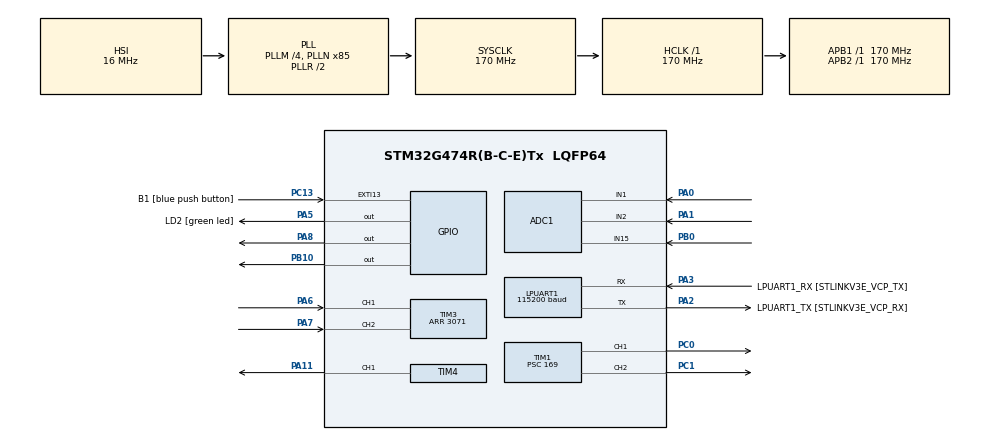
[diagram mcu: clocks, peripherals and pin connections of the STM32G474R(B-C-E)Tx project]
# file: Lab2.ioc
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ADC1.Channel-0\#ChannelRegularConversion=ADC_CHANNEL_1
ADC1.Channel-1\#ChannelRegularConversion=ADC_CHANNEL_2
ADC1.Channel-2\#ChannelRegularConversion=ADC_CHANNEL_15
ADC1.ContinuousConvMode=ENABLE
ADC1.DMAContinuousRequests=ENABLE
ADC1.NbrOfConversion=3
ADC1.NbrOfConversionFlag=1
ADC1.OffsetNumber-0\#ChannelRegularConversion=ADC_OFFSET_NONE
ADC1.OffsetNumber-1\#ChannelRegularConversion=ADC_OFFSET_NONE
ADC1.OffsetNumber-2\#ChannelRegularConversion=ADC_OFFSET_NONE
ADC1.Rank-0\#ChannelRegularConversion=1
ADC1.Rank-1\#ChannelRegularConversion=2
ADC1.Rank-2\#ChannelRegularConversion=3
ADC1.SamplingTime-0\#ChannelRegularConversion=ADC_SAMPLETIME_640CYCLES_5
ADC1.SamplingTime-1\#ChannelRegularConversion=ADC_SAMPLETIME_640CYCLES_5
ADC1.SamplingTime-2\#ChannelRegularConversion=ADC_SAMPLETIME_640CYCLES_5
ADC1.master=1
ARM.CMSIS-DSP.1.15.0.CMSISJjDSP=Source
ARM.CMSIS.6.0.0.CMSISJjCORE=true
Dma.ADC1.0.Direction=DMA_PERIPH_TO_MEMORY
Dma.ADC1.0.EventEnable=DISABLE
Dma.ADC1.0.Instance=DMA1_Channel1
Dma.ADC1.0.MemDataAlignment=DMA_MDATAALIGN_HALFWORD
Dma.ADC1.0.MemInc=DMA_MINC_ENABLE
Dma.ADC1.0.Mode=DMA_CIRCULAR
Dma.ADC1.0.PeriphDataAlignment=DMA_PDATAALIGN_HALFWORD
Dma.ADC1.0.PeriphInc=DMA_PINC_DISABLE
Dma.ADC1.0.Polarity=HAL_DMAMUX_REQ_GEN_RISING
Dma.ADC1.0.Priority=DMA_PRIORITY_LOW
Dma.ADC1.0.RequestNumber=1
Dma.ADC1.0.SignalID=NONE
Dma.ADC1.0.SyncEnable=DISABLE
Dma.ADC1.0.SyncPolarity=HAL_DMAMUX_SYNC_NO_EVENT
Dma.ADC1.0.SyncRequestNumber=1
Dma.ADC1.0.SyncSignalID=NONE
Dma.Request0=ADC1
LPUART1.BaudRate=115200
LPUART1.WordLength=UART_WORDLENGTH_8B
Mcu.Family=STM32G4
Mcu.Name=STM32G474R(B-C-E)Tx
Mcu.Package=LQFP64
NVIC.DMA1_Channel1_IRQn=true\:0\:0\:false\:false\:true\:false\:true\:true
NVIC.EXTI15_10_IRQn=true\:0\:0\:false\:false\:true\:true\:true\:true
NVIC.PriorityGroup=NVIC_PRIORITYGROUP_4
PA0.Mode=IN1-Single-Ended
PA0.Signal=ADC1_IN1
PA1.Mode=IN2-Single-Ended
PA1.Signal=ADC1_IN2
PA11.Signal=S_TIM4_CH1
PA13.GPIO_Label=T_SWDIO
PA13.Mode=Trace_Asynchronous_SW
PA13.Signal=SYS_JTMS-SWDIO
PA14.GPIO_Label=T_SWCLK
PA14.Mode=Trace_Asynchronous_SW
PA14.Signal=SYS_JTCK-SWCLK
PA2.GPIO_Label=LPUART1_TX [STLINKV3E_VCP_RX]
PA2.Mode=Asynchronous
PA2.Signal=LPUART1_TX
PA3.GPIO_Label=LPUART1_RX [STLINKV3E_VCP_TX]
PA3.Mode=Asynchronous
PA3.Signal=LPUART1_RX
PA5.GPIO_Label=LD2 [green led]
PA5.Signal=GPIO_Output
PA6.Signal=S_TIM3_CH1
PA7.Signal=S_TIM3_CH2
PA8.Signal=GPIO_Output
PB0.Mode=IN15-Single-Ended
PB0.Signal=ADC1_IN15
PB10.Signal=GPIO_Output
PB3.GPIO_Label=T_SWO
PB3.Mode=Trace_Asynchronous_SW
PB3.Signal=SYS_JTDO-SWO
PC0.Signal=S_TIM1_CH1
PC1.Signal=S_TIM1_CH2
PC13.GPIO_Label=B1 [blue push button]
PC13.Signal=GPXTI13
PC14-OSC32_IN.Mode=LSE-External-Oscillator
PC14-OSC32_IN.Signal=RCC_OSC32_IN
PC15-OSC32_OUT.Mode=LSE-External-Oscillator
PC15-OSC32_OUT.Signal=RCC_OSC32_OUT
PF0-OSC_IN.Mode=HSE-External-Oscillator
PF0-OSC_IN.Signal=RCC_OSC_IN
PF1-OSC_OUT.Mode=HSE-External-Oscillator
PF1-OSC_OUT.Signal=RCC_OSC_OUT
ProjectManager.HeapSize=0x200
ProjectManager.StackSize=0x400
ProjectManager.TargetToolchain=STM32CubeIDE
RCC.ADC12Freq_Value=170000000
RCC.ADC345Freq_Value=170000000
RCC.AHBFreq_Value=170000000
RCC.APB1Freq_Value=170000000
RCC.APB1TimFreq_Value=170000000
RCC.APB2Freq_Value=170000000
RCC.APB2TimFreq_Value=170000000
RCC.CortexFreq_Value=170000000
RCC.EXTERNAL_CLOCK_VALUE=12288000
RCC.HCLKFreq_Value=170000000
RCC.HSE_VALUE=24000000
RCC.HSI48_VALUE=48000000
RCC.HSI_VALUE=16000000
RCC.PLLM=RCC_PLLM_DIV4
RCC.PLLN=85
RCC.RTCClockSelection=RCC_RTCCLKSOURCE_LSE
RCC.SYSCLKFreq_VALUE=170000000
RCC.SYSCLKSource=RCC_SYSCLKSOURCE_PLLCLK
RCC.USBFreq_Value=170000000
RCC.VCOOutputFreq_Value=340000000
SH.S_TIM1_CH1.0=TIM1_CH1,PWM Generation1 CH1
SH.S_TIM1_CH2.0=TIM1_CH2,PWM Generation2 CH2
SH.S_TIM3_CH1.0=TIM3_CH1,Encoder_Interface
SH.S_TIM3_CH2.0=TIM3_CH2,Encoder_Interface
SH.S_TIM4_CH1.0=TIM4_CH1,PWM Generation1 CH1
TIM1.Channel-PWM\ Generation1\ CH1=TIM_CHANNEL_1
TIM1.Channel-PWM\ Generation2\ CH2=TIM_CHANNEL_2
TIM1.PeriodNoDither=19999
TIM1.Prescaler=169
TIM1.PulseNoDither_2=0
TIM3.EncoderMode=TIM_ENCODERMODE_TI12
TIM3.PeriodNoDither=3071
TIM4.Channel-PWM\ Generation1\ CH1=TIM_CHANNEL_1
TIM4.PeriodNoDither=9999
TIM4.Prescaler=169
VP_ARM.CMSIS-DSP_VS_CMSISJjDSP_1.15.0_1.15.0.Mode=CMSISJjDSP
VP_ARM.CMSIS_VS_CMSISJjCORE_6.0.0_6.0.0.Mode=CMSISJjCORE
VP_SYS_VS_DBSignals.Mode=DisableDeadBatterySignals
VP_TIM1_VS_ClockSourceINT.Mode=Internal
VP_TIM4_VS_ClockSourceINT.Mode=Internal
board=NUCLEO-G474RE

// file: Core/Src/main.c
/* USER CODE BEGIN Header */
/**
  ******************************************************************************
  * @file           : main.c
  * @brief          : Main program body
  ******************************************************************************
  * @attention
  *
  * Copyright (c) 2024 STMicroelectronics.
  * All rights reserved.
  *
  * This software is licensed under terms that can be found in the LICENSE file
  * in the root directory of this software component.
  * If no LICENSE file comes with this software, it is provided AS-IS.
  *
  ******************************************************************************
  */
/* USER CODE END Header */
#include "main.h"

/* USER CODE BEGIN Includes */
#include "arm_math.h"

/* USER CODE END Includes */

ADC_HandleTypeDef hadc1;
DMA_HandleTypeDef hdma_adc1;

UART_HandleTypeDef hlpuart1;

TIM_HandleTypeDef htim1;
TIM_HandleTypeDef htim3;
TIM_HandleTypeDef htim4;

/* USER CODE BEGIN PV */
int check = 0;
uint32_t QEIReadRaw;
float Radiant;
float Radiant2;
uint16_t ADC_RawRead[3]={0};
arm_pid_instance_f32 PID = {0};
float position =0;
float setposition =0;
float Vfeedback = 0;
float position2 =0;
float setposition2 =0;
float Vfeedback2 = 0;
float Gain;
int G;
int Diff;
int Diff2;
float Kp1;
float Ki1;
float Kd1;

/* USER CODE END PV */

void SystemClock_Config(void);
static void MX_GPIO_Init(void);
static void MX_DMA_Init(void);
static void MX_LPUART1_UART_Init(void);
static void MX_TIM3_Init(void);
static void MX_ADC1_Init(void);
static void MX_TIM1_Init(void);
static void MX_TIM4_Init(void);
/* USER CODE BEGIN PFP */
void NO1();
void NO2();
void NO3();
float PlantSimulation(float VIn);

/* USER CODE END PFP */

int main(void)
{

  /* MCU Configuration--------------------------------------------------------*/

  /* Reset of all peripherals, Initializes the Flash interface and the Systick. */
  HAL_Init();

  /* Configure the system clock */
  SystemClock_Config();

  /* Initialize all configured peripherals */
  MX_GPIO_Init();
  MX_DMA_Init();
  MX_LPUART1_UART_Init();
  MX_TIM3_Init();
  MX_ADC1_Init();
  MX_TIM1_Init();
  MX_TIM4_Init();
  /* USER CODE BEGIN 2 */
  HAL_TIM_Encoder_Start(&htim3,TIM_CHANNEL_ALL);
  HAL_ADCEx_Calibration_Start(&hadc1, ADC_SINGLE_ENDED);
  HAL_ADC_Start_DMA(&hadc1, ADC_RawRead, 3);
  // faulhaber
//  PID.Kp = 15;
//  PID.Ki = 0.0002;
//  PID.Kd = 2.5;

  // motor
  PID.Kp = 15;
  PID.Ki = 0.0004;
  PID.Kd = 4;

  arm_pid_init_f32(&PID, 0);
  HAL_TIM_Base_Start(&htim1);
  HAL_TIM_PWM_Start(&htim1, TIM_CHANNEL_1);
  HAL_TIM_PWM_Start(&htim1, TIM_CHANNEL_2);
  HAL_TIM_Base_Start(&htim4);
  HAL_TIM_PWM_Start(&htim4, TIM_CHANNEL_1);

  /* USER CODE END 2 */

  /* Infinite loop */
  while (1)
  {

    /* USER CODE BEGIN 3 */
	  if (check == 1)
	  {
		  NO1();
		  __HAL_TIM_SET_COMPARE(&htim1, TIM_CHANNEL_1, 0);
		  __HAL_TIM_SET_COMPARE(&htim1, TIM_CHANNEL_2, 0);
		  setposition2 = ADC_RawRead[1];
		  position2 = ADC_RawRead[2];
		  Diff2 = ADC_RawRead[1] - ADC_RawRead[2];
		  static uint32_t timestamp =0;
		  if(timestamp < HAL_GetTick())
		  {
			  timestamp = HAL_GetTick()+1;
			  Vfeedback2 = arm_pid_f32(&PID, setposition2 - position2);
			  if (Vfeedback2 > 9999)
			  {
				  Vfeedback2 = 9999;
			  }
			  if (Vfeedback2 < -9999)
			  {
				  Vfeedback2 = -9999;
			  }
//			  if (Vfeedback2 > 0 && Vfeedback2 < 1000)
//			  {
//				  Vfeedback2 = 1000;
//			  }
//			  if (Vfeedback2 < 0 && Vfeedback2 > -1000)
//			  {
//				  Vfeedback2 = -1000;
//			  }
//			  if (ADC_RawRead[1] > 3500)
//			  {
//				  Vfeedback2 = Vfeedback2/3;
//			  }
//			  if (ADC_RawRead[2] == 4050)
//			  {
//				  __HAL_TIM_SET_COMPARE(&htim4, TIM_CHANNEL_1, 0);
//			  }
//			  if (ADC_RawRead[1] < 500 )
// 			  {
//				  Vfeedback2 = Vfeedback2/3;
//			  }
//			  if (ADC_RawRead[2] == 50)
//			  {
//				  __HAL_TIM_SET_COMPARE(&htim4, TIM_CHANNEL_1, 0);
//			  }
////			  if (ADC_RawRead[2] == )
//			  {
//				  __HAL_TIM_SET_COMPARE(&htim4, TIM_CHANNEL_1, 0);
//			  }
			  if (Diff2 < 0)
			  {
				  G = 1;
				  HAL_GPIO_WritePin(GPIOA, GPIO_PIN_8,GPIO_PIN_SET);
				  HAL_GPIO_WritePin(GPIOB, GPIO_PIN_10,GPIO_PIN_RESET);
				  __HAL_TIM_SET_COMPARE(&htim4, TIM_CHANNEL_1, -Vfeedback2);
			  }
			  else if (Diff2 > 0)
			  {
				  G = 2;
				  HAL_GPIO_WritePin(GPIOA, GPIO_PIN_8,GPIO_PIN_RESET);
				  HAL_GPIO_WritePin(GPIOB, GPIO_PIN_10,GPIO_PIN_SET);
				  __HAL_TIM_SET_COMPARE(&htim4, TIM_CHANNEL_1, Vfeedback2);
			  }
			  if (Diff2 == 0)
			  {
				  G = 3;
				  __HAL_TIM_SET_COMPARE(&htim4, TIM_CHANNEL_1, 0);
			  }
		  }
	  }
	  else if (check == 2)
	  {
		  NO2();
		  __HAL_TIM_SET_COMPARE(&htim4, TIM_CHANNEL_1, 0);
		  setposition = Gain;
		  position = QEIReadRaw;
		  Diff = Gain - QEIReadRaw;
		  static uint32_t timestamp =0;
		  if(timestamp < HAL_GetTick())
		  {
			  timestamp = HAL_GetTick()+1;
			  Vfeedback = arm_pid_f32(&PID, setposition - position);
			  if (Vfeedback > 19999)
			  {
				  Vfeedback = 19999;
			  }
			  if (Vfeedback > 0 && Vfeedback < 1500)
			  {
				  Vfeedback = 1500;
			  }
			  if (Vfeedback < 0 && Vfeedback > -1500)
			  {
				  Vfeedback = -1500;
			  }
			  if (Diff < 0)
			  {
				  __HAL_TIM_SET_COMPARE(&htim1, TIM_CHANNEL_1, 0);
				  __HAL_TIM_SET_COMPARE(&htim1, TIM_CHANNEL_2, -Vfeedback);
			  }

			  else if (Diff > 0)
			  {
				  __HAL_TIM_SET_COMPARE(&htim1, TIM_CHANNEL_1, Vfeedback);
				  __HAL_TIM_SET_COMPARE(&htim1, TIM_CHANNEL_2, 0);
			  }
			  if (Diff == 0)
			  {
				  __HAL_TIM_SET_COMPARE(&htim1, TIM_CHANNEL_1, 0);
				  __HAL_TIM_SET_COMPARE(&htim1, TIM_CHANNEL_2, 0);
			  }
		  }
	  }
	  else
	  {
		  NO3();
		  __HAL_TIM_SET_COMPARE(&htim1, TIM_CHANNEL_1, 0);
		  __HAL_TIM_SET_COMPARE(&htim1, TIM_CHANNEL_2, 0);
	  }

  }
  /* USER CODE END 3 */
}

void SystemClock_Config(void)
{
  RCC_OscInitTypeDef RCC_OscInitStruct = {0};
  RCC_ClkInitTypeDef RCC_ClkInitStruct = {0};

  /** Configure the main internal regulator output voltage
  */
  HAL_PWREx_ControlVoltageScaling(PWR_REGULATOR_VOLTAGE_SCALE1_BOOST);

  /** Initializes the RCC Oscillators according to the specified parameters
  * in the RCC_OscInitTypeDef structure.
  */
  RCC_OscInitStruct.OscillatorType = RCC_OSCILLATORTYPE_HSI;
  RCC_OscInitStruct.HSIState = RCC_HSI_ON;
  RCC_OscInitStruct.HSICalibrationValue = RCC_HSICALIBRATION_DEFAULT;
  RCC_OscInitStruct.PLL.PLLState = RCC_PLL_ON;
  RCC_OscInitStruct.PLL.PLLSource = RCC_PLLSOURCE_HSI;
  RCC_OscInitStruct.PLL.PLLM = RCC_PLLM_DIV4;
  RCC_OscInitStruct.PLL.PLLN = 85;
  RCC_OscInitStruct.PLL.PLLP = RCC_PLLP_DIV2;
  RCC_OscInitStruct.PLL.PLLQ = RCC_PLLQ_DIV2;
  RCC_OscInitStruct.PLL.PLLR = RCC_PLLR_DIV2;
  if (HAL_RCC_OscConfig(&RCC_OscInitStruct) != HAL_OK)
  {
    Error_Handler();
  }

  /** Initializes the CPU, AHB and APB buses clocks
  */
  RCC_ClkInitStruct.ClockType = RCC_CLOCKTYPE_HCLK|RCC_CLOCKTYPE_SYSCLK
                              |RCC_CLOCKTYPE_PCLK1|RCC_CLOCKTYPE_PCLK2;
  RCC_ClkInitStruct.SYSCLKSource = RCC_SYSCLKSOURCE_PLLCLK;
  RCC_ClkInitStruct.AHBCLKDivider = RCC_SYSCLK_DIV1;
  RCC_ClkInitStruct.APB1CLKDivider = RCC_HCLK_DIV1;
  RCC_ClkInitStruct.APB2CLKDivider = RCC_HCLK_DIV1;

  if (HAL_RCC_ClockConfig(&RCC_ClkInitStruct, FLASH_LATENCY_4) != HAL_OK)
  {
    Error_Handler();
  }
}

static void MX_ADC1_Init(void)
{

  ADC_MultiModeTypeDef multimode = {0};
  ADC_ChannelConfTypeDef sConfig = {0};

  /** Common config
  */
  hadc1.Instance = ADC1;
  hadc1.Init.ClockPrescaler = ADC_CLOCK_SYNC_PCLK_DIV4;
  hadc1.Init.Resolution = ADC_RESOLUTION_12B;
  hadc1.Init.DataAlign = ADC_DATAALIGN_RIGHT;
  hadc1.Init.GainCompensation = 0;
  hadc1.Init.ScanConvMode = ADC_SCAN_ENABLE;
  hadc1.Init.EOCSelection = ADC_EOC_SINGLE_CONV;
  hadc1.Init.LowPowerAutoWait = DISABLE;
  hadc1.Init.ContinuousConvMode = ENABLE;
  hadc1.Init.NbrOfConversion = 3;
  hadc1.Init.DiscontinuousConvMode = DISABLE;
  hadc1.Init.ExternalTrigConv = ADC_SOFTWARE_START;
  hadc1.Init.ExternalTrigConvEdge = ADC_EXTERNALTRIGCONVEDGE_NONE;
  hadc1.Init.DMAContinuousRequests = ENABLE;
  hadc1.Init.Overrun = ADC_OVR_DATA_PRESERVED;
  hadc1.Init.OversamplingMode = DISABLE;
  if (HAL_ADC_Init(&hadc1) != HAL_OK)
  {
    Error_Handler();
  }

  /** Configure the ADC multi-mode
  */
  multimode.Mode = ADC_MODE_INDEPENDENT;
  if (HAL_ADCEx_MultiModeConfigChannel(&hadc1, &multimode) != HAL_OK)
  {
    Error_Handler();
  }

  /** Configure Regular Channel
  */
  sConfig.Channel = ADC_CHANNEL_1;
  sConfig.Rank = ADC_REGULAR_RANK_1;
  sConfig.SamplingTime = ADC_SAMPLETIME_640CYCLES_5;
  sConfig.SingleDiff = ADC_SINGLE_ENDED;
  sConfig.OffsetNumber = ADC_OFFSET_NONE;
  sConfig.Offset = 0;
  if (HAL_ADC_ConfigChannel(&hadc1, &sConfig) != HAL_OK)
  {
    Error_Handler();
  }

  /** Configure Regular Channel
  */
  sConfig.Channel = ADC_CHANNEL_2;
  sConfig.Rank = ADC_REGULAR_RANK_2;
  if (HAL_ADC_ConfigChannel(&hadc1, &sConfig) != HAL_OK)
  {
    Error_Handler();
  }

  /** Configure Regular Channel
  */
  sConfig.Channel = ADC_CHANNEL_15;
  sConfig.Rank = ADC_REGULAR_RANK_3;
  if (HAL_ADC_ConfigChannel(&hadc1, &sConfig) != HAL_OK)
  {
    Error_Handler();
  }

}

static void MX_LPUART1_UART_Init(void)
{

  hlpuart1.Instance = LPUART1;
  hlpuart1.Init.BaudRate = 115200;
  hlpuart1.Init.WordLength = UART_WORDLENGTH_8B;
  hlpuart1.Init.StopBits = UART_STOPBITS_1;
  hlpuart1.Init.Parity = UART_PARITY_NONE;
  hlpuart1.Init.Mode = UART_MODE_TX_RX;
  hlpuart1.Init.HwFlowCtl = UART_HWCONTROL_NONE;
  hlpuart1.Init.OneBitSampling = UART_ONE_BIT_SAMPLE_DISABLE;
  hlpuart1.Init.ClockPrescaler = UART_PRESCALER_DIV1;
  hlpuart1.AdvancedInit.AdvFeatureInit = UART_ADVFEATURE_NO_INIT;
  if (HAL_UART_Init(&hlpuart1) != HAL_OK)
  {
    Error_Handler();
  }
  if (HAL_UARTEx_SetTxFifoThreshold(&hlpuart1, UART_TXFIFO_THRESHOLD_1_8) != HAL_OK)
  {
    Error_Handler();
  }
  if (HAL_UARTEx_SetRxFifoThreshold(&hlpuart1, UART_RXFIFO_THRESHOLD_1_8) != HAL_OK)
  {
    Error_Handler();
  }
  if (HAL_UARTEx_DisableFifoMode(&hlpuart1) != HAL_OK)
  {
    Error_Handler();
  }

}

static void MX_TIM1_Init(void)
{

  TIM_ClockConfigTypeDef sClockSourceConfig = {0};
  TIM_MasterConfigTypeDef sMasterConfig = {0};
  TIM_OC_InitTypeDef sConfigOC = {0};
  TIM_BreakDeadTimeConfigTypeDef sBreakDeadTimeConfig = {0};

  htim1.Instance = TIM1;
  htim1.Init.Prescaler = 169;
  htim1.Init.CounterMode = TIM_COUNTERMODE_UP;
  htim1.Init.Period = 19999;
  htim1.Init.ClockDivision = TIM_CLOCKDIVISION_DIV1;
  htim1.Init.RepetitionCounter = 0;
  htim1.Init.AutoReloadPreload = TIM_AUTORELOAD_PRELOAD_DISABLE;
  if (HAL_TIM_Base_Init(&htim1) != HAL_OK)
  {
    Error_Handler();
  }
  sClockSourceConfig.ClockSource = TIM_CLOCKSOURCE_INTERNAL;
  if (HAL_TIM_ConfigClockSource(&htim1, &sClockSourceConfig) != HAL_OK)
  {
    Error_Handler();
  }
  if (HAL_TIM_PWM_Init(&htim1) != HAL_OK)
  {
    Error_Handler();
  }
  sMasterConfig.MasterOutputTrigger = TIM_TRGO_RESET;
  sMasterConfig.MasterOutputTrigger2 = TIM_TRGO2_RESET;
  sMasterConfig.MasterSlaveMode = TIM_MASTERSLAVEMODE_DISABLE;
  if (HAL_TIMEx_MasterConfigSynchronization(&htim1, &sMasterConfig) != HAL_OK)
  {
    Error_Handler();
  }
  sConfigOC.OCMode = TIM_OCMODE_PWM1;
  sConfigOC.Pulse = 0;
  sConfigOC.OCPolarity = TIM_OCPOLARITY_HIGH;
  sConfigOC.OCNPolarity = TIM_OCNPOLARITY_HIGH;
  sConfigOC.OCFastMode = TIM_OCFAST_DISABLE;
  sConfigOC.OCIdleState = TIM_OCIDLESTATE_RESET;
  sConfigOC.OCNIdleState = TIM_OCNIDLESTATE_RESET;
  if (HAL_TIM_PWM_ConfigChannel(&htim1, &sConfigOC, TIM_CHANNEL_1) != HAL_OK)
  {
    Error_Handler();
  }
  if (HAL_TIM_PWM_ConfigChannel(&htim1, &sConfigOC, TIM_CHANNEL_2) != HAL_OK)
  {
    Error_Handler();
  }
  sBreakDeadTimeConfig.OffStateRunMode = TIM_OSSR_DISABLE;
  sBreakDeadTimeConfig.OffStateIDLEMode = TIM_OSSI_DISABLE;
  sBreakDeadTimeConfig.LockLevel = TIM_LOCKLEVEL_OFF;
  sBreakDeadTimeConfig.DeadTime = 0;
  sBreakDeadTimeConfig.BreakState = TIM_BREAK_DISABLE;
  sBreakDeadTimeConfig.BreakPolarity = TIM_BREAKPOLARITY_HIGH;
  sBreakDeadTimeConfig.BreakFilter = 0;
  sBreakDeadTimeConfig.BreakAFMode = TIM_BREAK_AFMODE_INPUT;
  sBreakDeadTimeConfig.Break2State = TIM_BREAK2_DISABLE;
  sBreakDeadTimeConfig.Break2Polarity = TIM_BREAK2POLARITY_HIGH;
  sBreakDeadTimeConfig.Break2Filter = 0;
  sBreakDeadTimeConfig.Break2AFMode = TIM_BREAK_AFMODE_INPUT;
  sBreakDeadTimeConfig.AutomaticOutput = TIM_AUTOMATICOUTPUT_DISABLE;
  if (HAL_TIMEx_ConfigBreakDeadTime(&htim1, &sBreakDeadTimeConfig) != HAL_OK)
  {
    Error_Handler();
  }
  HAL_TIM_MspPostInit(&htim1);

}

static void MX_TIM3_Init(void)
{

  TIM_Encoder_InitTypeDef sConfig = {0};
  TIM_MasterConfigTypeDef sMasterConfig = {0};

  htim3.Instance = TIM3;
  htim3.Init.Prescaler = 0;
  htim3.Init.CounterMode = TIM_COUNTERMODE_UP;
  htim3.Init.Period = 3071;
  htim3.Init.ClockDivision = TIM_CLOCKDIVISION_DIV1;
  htim3.Init.AutoReloadPreload = TIM_AUTORELOAD_PRELOAD_DISABLE;
  sConfig.EncoderMode = TIM_ENCODERMODE_TI12;
  sConfig.IC1Polarity = TIM_ICPOLARITY_RISING;
  sConfig.IC1Selection = TIM_ICSELECTION_DIRECTTI;
  sConfig.IC1Prescaler = TIM_ICPSC_DIV1;
  sConfig.IC1Filter = 0;
  sConfig.IC2Polarity = TIM_ICPOLARITY_RISING;
  sConfig.IC2Selection = TIM_ICSELECTION_DIRECTTI;
  sConfig.IC2Prescaler = TIM_ICPSC_DIV1;
  sConfig.IC2Filter = 0;
  if (HAL_TIM_Encoder_Init(&htim3, &sConfig) != HAL_OK)
  {
    Error_Handler();
  }
  sMasterConfig.MasterOutputTrigger = TIM_TRGO_RESET;
  sMasterConfig.MasterSlaveMode = TIM_MASTERSLAVEMODE_DISABLE;
  if (HAL_TIMEx_MasterConfigSynchronization(&htim3, &sMasterConfig) != HAL_OK)
  {
    Error_Handler();
  }

}

static void MX_TIM4_Init(void)
{

  TIM_ClockConfigTypeDef sClockSourceConfig = {0};
  TIM_MasterConfigTypeDef sMasterConfig = {0};
  TIM_OC_InitTypeDef sConfigOC = {0};

  htim4.Instance = TIM4;
  htim4.Init.Prescaler = 169;
  htim4.Init.CounterMode = TIM_COUNTERMODE_UP;
  htim4.Init.Period = 9999;
  htim4.Init.ClockDivision = TIM_CLOCKDIVISION_DIV1;
  htim4.Init.AutoReloadPreload = TIM_AUTORELOAD_PRELOAD_DISABLE;
  if (HAL_TIM_Base_Init(&htim4) != HAL_OK)
  {
    Error_Handler();
  }
  sClockSourceConfig.ClockSource = TIM_CLOCKSOURCE_INTERNAL;
  if (HAL_TIM_ConfigClockSource(&htim4, &sClockSourceConfig) != HAL_OK)
  {
    Error_Handler();
  }
  if (HAL_TIM_PWM_Init(&htim4) != HAL_OK)
  {
    Error_Handler();
  }
  sMasterConfig.MasterOutputTrigger = TIM_TRGO_RESET;
  sMasterConfig.MasterSlaveMode = TIM_MASTERSLAVEMODE_DISABLE;
  if (HAL_TIMEx_MasterConfigSynchronization(&htim4, &sMasterConfig) != HAL_OK)
  {
    Error_Handler();
  }
  sConfigOC.OCMode = TIM_OCMODE_PWM1;
  sConfigOC.Pulse = 0;
  sConfigOC.OCPolarity = TIM_OCPOLARITY_HIGH;
  sConfigOC.OCFastMode = TIM_OCFAST_DISABLE;
  if (HAL_TIM_PWM_ConfigChannel(&htim4, &sConfigOC, TIM_CHANNEL_1) != HAL_OK)
  {
    Error_Handler();
  }
  HAL_TIM_MspPostInit(&htim4);

}

static void MX_DMA_Init(void)
{

  /* DMA controller clock enable */
  __HAL_RCC_DMAMUX1_CLK_ENABLE();
  __HAL_RCC_DMA1_CLK_ENABLE();

  /* DMA interrupt init */
  /* DMA1_Channel1_IRQn interrupt configuration */
  HAL_NVIC_SetPriority(DMA1_Channel1_IRQn, 0, 0);
  HAL_NVIC_EnableIRQ(DMA1_Channel1_IRQn);

}

static void MX_GPIO_Init(void)
{
  GPIO_InitTypeDef GPIO_InitStruct = {0};

  /* GPIO Ports Clock Enable */
  __HAL_RCC_GPIOC_CLK_ENABLE();
  __HAL_RCC_GPIOF_CLK_ENABLE();
  __HAL_RCC_GPIOA_CLK_ENABLE();
  __HAL_RCC_GPIOB_CLK_ENABLE();

  /*Configure GPIO pin Output Level */
  HAL_GPIO_WritePin(GPIOA, LD2_Pin|GPIO_PIN_8, GPIO_PIN_RESET);

  /*Configure GPIO pin Output Level */
  HAL_GPIO_WritePin(GPIOB, GPIO_PIN_10, GPIO_PIN_RESET);

  /*Configure GPIO pin : B1_Pin */
  GPIO_InitStruct.Pin = B1_Pin;
  GPIO_InitStruct.Mode = GPIO_MODE_IT_RISING;
  GPIO_InitStruct.Pull = GPIO_NOPULL;
  HAL_GPIO_Init(B1_GPIO_Port, &GPIO_InitStruct);

  /*Configure GPIO pins : LD2_Pin PA8 */
  GPIO_InitStruct.Pin = LD2_Pin|GPIO_PIN_8;
  GPIO_InitStruct.Mode = GPIO_MODE_OUTPUT_PP;
  GPIO_InitStruct.Pull = GPIO_NOPULL;
  GPIO_InitStruct.Speed = GPIO_SPEED_FREQ_LOW;
  HAL_GPIO_Init(GPIOA, &GPIO_InitStruct);

  /*Configure GPIO pin : PB10 */
  GPIO_InitStruct.Pin = GPIO_PIN_10;
  GPIO_InitStruct.Mode = GPIO_MODE_OUTPUT_PP;
  GPIO_InitStruct.Pull = GPIO_NOPULL;
  GPIO_InitStruct.Speed = GPIO_SPEED_FREQ_LOW;
  HAL_GPIO_Init(GPIOB, &GPIO_InitStruct);

  /* EXTI interrupt init*/
  HAL_NVIC_SetPriority(EXTI15_10_IRQn, 0, 0);
  HAL_NVIC_EnableIRQ(EXTI15_10_IRQn);

}

/* USER CODE BEGIN 4 */
void NO1()
{
	//LD2
	HAL_GPIO_WritePin(GPIOA, GPIO_PIN_5,GPIO_PIN_SET);
	ADC_RawRead[0] = 0;
	Radiant2 = (ADC_RawRead[2]*6.28)/4095.0;

}

void NO2()
{
	// LD2
	HAL_GPIO_WritePin(GPIOA, GPIO_PIN_5,GPIO_PIN_RESET);
	ADC_RawRead[1] = 0;
	ADC_RawRead[2] = 0;

	// QEI
	QEIReadRaw = __HAL_TIM_GET_COUNTER(&htim3);
	Radiant = (QEIReadRaw*6.28)/3071.0;

	// Scale 4095 to 3071
	Gain = (ADC_RawRead[0]*3071.0)/4095.0;
}
void NO3()
{
	//LD2
	HAL_GPIO_TogglePin(GPIOA, GPIO_PIN_5);
	HAL_Delay(100);
//	ADC1_Channel[0].data = 0;
//	ADC1_Channel[1].data = 0;
//	ADC1_Channel[2].data = 0;
}
void HAL_GPIO_EXTI_Callback(uint16_t GPIO_Pin)
{
	if (GPIO_Pin == GPIO_PIN_13)
	{
		if (check == 0)
		{
			check = 1;
		}
		else if (check == 1)
		{
			check = 2;
		}
		else if (check == 2)
		{
			check= 3;
		}
		else
		{
			check = 1;
		}
	}
}

/* USER CODE END 4 */

void Error_Handler(void)
{
  __disable_irq();
  while (1)
  {
  }
}
